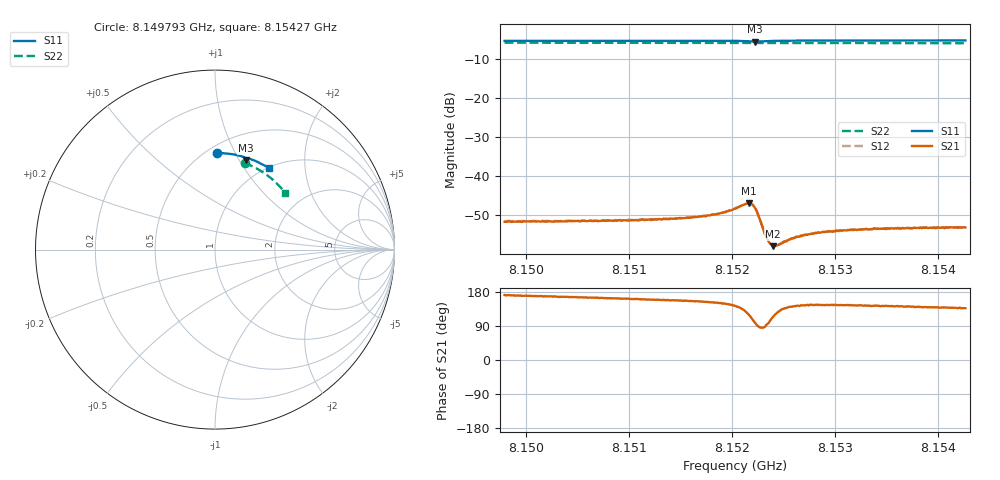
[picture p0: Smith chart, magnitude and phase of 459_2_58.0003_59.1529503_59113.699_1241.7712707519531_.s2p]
#  HZ  S  RI  R  50.00
! Rohde & Schwarz Vector Network Analyzer
! Rohde-Schwarz,ZNB20-2Port,1311601062101988,3.16
! Created: UTC 3/21/2024, 1:10:53 AM
! freq[Hz]  re:S11  im:S11  re:S21  im:S21  re:S12  im:S12  re:S22  im:S22
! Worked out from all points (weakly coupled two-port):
!   401 points, 8.149793 GHz to 8.15427 GHz, reference 50 ohm
!   highest |S21| = -46.94 dB at 8.152165 GHz (marker M1); lowest = -57.9 dB at 8.1524 GHz (marker M2)
!   lowest |S11| = -5.6 dB at 8.152221 GHz (marker M3), VSWR 3.22, Z = 38.6 + j53.2 ohm
!   |S11| at or under -10 dB: nowhere
!   |S22| runs from -6.0 to -5.9 dB; largest |S21 - S12| = 0.00012
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8.1497926e9  0.00963 0.5379  -0.00259 0.000381  -0.00264 0.000481  0.1647 0.4824
8.1505425e9  0.0619 0.5355  -0.0026 0.000673  -0.00261 0.000767  0.209 0.4637
8.1512924e9  0.114 0.5281  -0.00264 0.00102  -0.00262 0.00107  0.2513 0.4409
8.1515946e9  0.1351 0.5235  -0.00269 0.00122  -0.00269 0.00128  0.2677 0.431
8.1517849e9  0.1486 0.5196  -0.00279 0.00146  -0.00279 0.00152  0.2776 0.4239
8.1519192e9  0.1588 0.5162  -0.00295 0.00176  -0.00296 0.00182  0.2846 0.4191
8.1520311e9  0.1672 0.5118  -0.00307 0.00232  -0.00305 0.00238  0.2904 0.4149
8.1521206e9  0.1732 0.5054  -0.00286 0.00326  -0.00282 0.00334  0.2949 0.4111
8.1521654e9  0.1737 0.501  -0.00221 0.00392  -0.0022 0.00394  0.2969 0.4094
8.152199e9  0.1721 0.4984  -0.00133 0.00415  -0.00125 0.00418  0.2985 0.408
8.1522214e9  0.1702 0.498  -0.000683 0.00396  -0.000588 0.004  0.2995 0.4072
8.1522549e9  0.1684 0.5002  2.95e-05 0.00324  0.0001 0.00326  0.3011 0.4061
8.1523109e9  0.1705 0.5048  0.000148 0.00199  0.000166 0.00201  0.304 0.4042
8.1523445e9  0.1734 0.5065  -0.000146 0.00159  -8.33e-05 0.00156  0.3056 0.4029
8.1523669e9  0.1756 0.5071  -0.000287 0.00137  -0.000262 0.00138  0.3068 0.402
8.1524004e9  0.1786 0.5074  -0.000511 0.00117  -0.000474 0.00123  0.3086 0.4009
8.1524452e9  0.1827 0.5074  -0.000766 0.00106  -0.0008 0.00111  0.3107 0.3989
8.1526131e9  0.196 0.5046  -0.00129 0.001  -0.00131 0.00102  0.319 0.3921
8.152781e9  0.2081 0.5005  -0.0015 0.00103  -0.0015 0.00107  0.327 0.3851
8.1530384e9  0.2253 0.4939  -0.00165 0.00116  -0.00159 0.00118  0.339 0.3741
8.1535309e9  0.2566 0.4792  -0.00171 0.00132  -0.00169 0.00133  0.3609 0.3519
8.1542696e9  0.3012 0.4539  -0.00161 0.00152  -0.00164 0.00153  0.3906 0.3164
